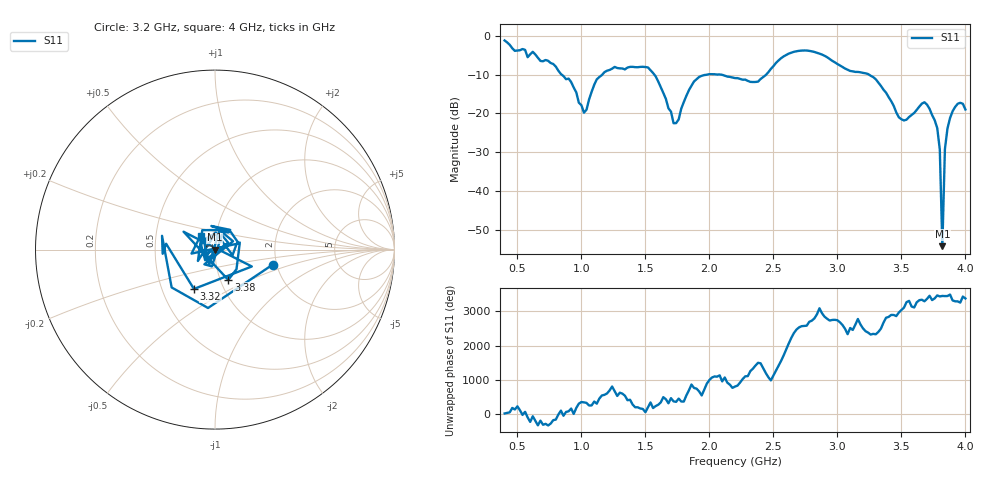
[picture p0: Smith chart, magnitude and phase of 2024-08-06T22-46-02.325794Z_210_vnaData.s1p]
!Created with skrf (http://scikit-rf.org).
# Hz S RI R 50.0
!freq ReS11 ImS11
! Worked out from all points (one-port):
!   181 points, 400 MHz to 4 GHz, reference 50 ohm
!   lowest |S11| = -54.3 dB at 3.82 GHz (marker M1), VSWR 1.00, Z = 49.8 - j0.0924 ohm
!   |S11| at or under -10 dB: 1.569 GHz to 1.987 GHz (418.1 MHz wide, 23.5 % of centre); 2.083 GHz to 2.444 GHz (361 MHz wide, 15.9 % of centre); 3.246 GHz to end of sweep (the widest 3 of 5)
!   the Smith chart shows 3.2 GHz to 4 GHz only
!   S11 on the Smith chart (normalised r, x): 3.2 GHz: 1.90, -0.36; 3.32 GHz: 0.72, -0.34; 3.38 GHz: 1.09, -0.38; 4 GHz: 0.84, +0.13
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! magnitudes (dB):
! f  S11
! 400 MHz  -1.2
! 860 MHz  -10.4
! 1.02 GHz  -19.8
! 1.12 GHz  -11.3
! 1.3 GHz  -8.4
! 1.52 GHz  -8.2
! 1.6 GHz  -11.8
! 1.72 GHz  -22.6
! 1.76 GHz  -21.6
! 1.84 GHz  -14.0
! 1.92 GHz  -10.6
! 2.2 GHz  -10.9
! 2.38 GHz  -11.8
! 2.66 GHz  -4.1
! 3.1 GHz  -9.1
! 3.2 GHz  -9.6
! 3.32 GHz  -12.1
! 3.38 GHz  -14.7
! 3.48 GHz  -21.0
! 3.56 GHz  -21.0
! 3.68 GHz  -17.2
! 3.78 GHz  -23.8
! 3.8 GHz  -29.3
! 3.82 GHz  -54.3
! 3.84 GHz  -29.2
! 3.86 GHz  -23.9
! 3.94 GHz  -17.5
! 4 GHz  -19.0
